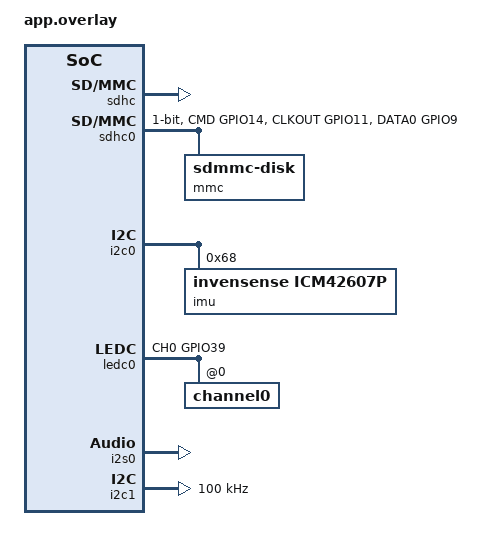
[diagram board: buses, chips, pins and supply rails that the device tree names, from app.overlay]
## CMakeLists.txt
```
cmake_minimum_required(VERSION 3.20.0)
find_package(Zephyr REQUIRED HINTS $ENV{ZEPHYR_BASE})
project(box3_probe)
target_sources(app PRIVATE src/main.c src/radio.c src/audio.c src/dock.c src/provision.c src/telemetry.c src/dashboard.c src/forecast.c src/ui.c)
```

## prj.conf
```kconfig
CONFIG_MAIN_STACK_SIZE=12288
CONFIG_INIT_STACKS=y
CONFIG_STACK_SENTINEL=y
CONFIG_I2C=y
CONFIG_I2S=y
CONFIG_DISK_ACCESS=y
CONFIG_SDMMC_STACK=y
CONFIG_SENSOR=y
CONFIG_PWM=y
CONFIG_SHELL=y
CONFIG_NET_SHELL=y
CONFIG_NET_L2_WIFI_SHELL=y
CONFIG_SHELL_STACK_SIZE=4096
CONFIG_I2S_ESP32_ALLOWED_EMPTY_TX_QUEUE_DEFERRAL_TIME_MS=50
CONFIG_DISPLAY=y
CONFIG_SPI_ESP32_INTERRUPT=y
CONFIG_INPUT=y
CONFIG_INPUT_GT911=y
CONFIG_LVGL=y
# Complete each dirty region in PSRAM before starting its SPI transfer.
CONFIG_LV_Z_VDB_SIZE=100
CONFIG_LV_Z_VDB_CUSTOM_SECTION=y
CONFIG_LV_Z_DOUBLE_VDB=y
CONFIG_LV_Z_FLUSH_THREAD=y
CONFIG_LV_Z_FLUSH_THREAD_STACK_SIZE=2048
CONFIG_LV_Z_FLUSH_THREAD_PRIORITY=4
CONFIG_LV_DEF_REFR_PERIOD=16
CONFIG_LV_Z_MEM_POOL_SIZE=393216
CONFIG_LV_Z_MEMORY_POOL_CUSTOM_SECTION=y
CONFIG_SYS_HEAP_RUNTIME_STATS=y
CONFIG_LV_USE_LOG=y
CONFIG_LV_Z_LOG_LEVEL_WRN=y
CONFIG_LV_USE_ASSERT=y
CONFIG_LV_USE_ASSERT_MALLOC=y
CONFIG_LV_USE_ASSERT_NULL=y
CONFIG_LV_USE_LABEL=y
CONFIG_LV_USE_BUTTON=y
CONFIG_LV_FONT_MONTSERRAT_14=y
CONFIG_LV_FONT_MONTSERRAT_12=y
CONFIG_LV_FONT_MONTSERRAT_24=y
CONFIG_LV_FONT_MONTSERRAT_32=y
CONFIG_LV_USE_CHART=y
CONFIG_LV_USE_BAR=y
CONFIG_LV_USE_SNAPSHOT=y
CONFIG_JSON_LIBRARY=y
CONFIG_LOG=y
CONFIG_PRINTK=y

CONFIG_ESP_SPIRAM=y
CONFIG_SPIRAM_MODE_OCT=y
CONFIG_ESP_SPIRAM_MEMTEST=y
CONFIG_NETWORKING=y
CONFIG_WIFI=y
CONFIG_ESP_WIFI_HEAP_SPIRAM=y
CONFIG_NET_IPV4=y
CONFIG_NET_IPV6=n
CONFIG_NET_DHCPV4=y
CONFIG_NET_MGMT_EVENT_INFO=y
CONFIG_NET_MGMT_EVENT_QUEUE_SIZE=16
CONFIG_NET_MGMT_EVENT_STACK_SIZE=2048
CONFIG_NET_RX_STACK_SIZE=2048
CONFIG_NET_TX_STACK_SIZE=2048
CONFIG_BT=n
CONFIG_SHELL_HISTORY=n
CONFIG_SETTINGS=y
CONFIG_SETTINGS_NVS=y
CONFIG_NVS=y
CONFIG_NVS_DATA_CRC=y
CONFIG_FLASH=y
CONFIG_FLASH_MAP=y
CONFIG_FLASH_PAGE_LAYOUT=y
CONFIG_BASE64=y
CONFIG_REBOOT=y

CONFIG_NET_TCP=y
CONFIG_NET_SOCKETS=y
CONFIG_NET_SOCKETS_SOCKOPT_TLS=y
CONFIG_HTTP_CLIENT=y
CONFIG_SNTP=y
CONFIG_DNS_RESOLVER=y
CONFIG_MBEDTLS_ENABLE_HEAP=y
CONFIG_MBEDTLS_HEAP_SIZE=60000
CONFIG_MBEDTLS_SSL_IN_CONTENT_LEN=4096
CONFIG_MBEDTLS_SSL_OUT_CONTENT_LEN=2048
CONFIG_MBEDTLS_PEM_PARSE_C=y
CONFIG_MBEDTLS_HAVE_TIME_DATE=y
CONFIG_MBEDTLS_CIPHERSUITE_TLS_ECDHE_ECDSA_WITH_AES_128_GCM_SHA256=y
CONFIG_MBEDTLS_SSL_PROTO_TLS1_3=y
# Certificate identity is the provisioned IP SAN, not a DNS virtual-host name.
CONFIG_MBEDTLS_SSL_SERVER_NAME_INDICATION=n
CONFIG_MBEDTLS_SSL_TLS1_3_KEY_EXCHANGE_MODE_EPHEMERAL_ENABLED=y
CONFIG_MBEDTLS_CIPHERSUITE_TLS1_3_AES_128_GCM_SHA256=y
```

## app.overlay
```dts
#include <zephyr/dt-bindings/pinctrl/esp32s3-pinctrl.h>

/* Match the BOX-3 BSP's 40 MHz display clock and use free GDMA channels. */
&ili9342c {
    mipi-max-frequency = <40000000>;
};

&spi2 {
    dma-enabled;
    dmas = <&dma 0>, <&dma 1>;
    dma-names = "rx", "tx";
};

&dma {
    status = "okay";
};

/* GT911 is mounted in native screen coordinates; compensate the panel's 180deg rotation. */
&gt911 {
    screen-width = <320>;
    screen-height = <240>;
    inverted-x;
    inverted-y;
};

&pinctrl {
    dock_i2c: dock_i2c {
        group1 {
            pinmux = <I2C1_SDA_GPIO41>, <I2C1_SCL_GPIO40>;
            bias-pull-up;
            drive-open-drain;
            output-high;
        };
    };
};

&pinctrl {
    audio_pins: audio_pins {
        group1 {
            pinmux = <I2S0_MCLK_GPIO2>, <I2S0_O_BCK_GPIO17>,
                     <I2S0_O_WS_GPIO45>, <I2S0_O_SD_GPIO15>,
                     <I2S0_I_SD_GPIO16>;
        };
    };
};

&pinctrl {
    sd_pins: sd_pins {
        group1 {
            pinmux = <SDHC0_CMD_GPIO14>, <SDHC0_CLKOUT_GPIO11>,
                     <SDHC0_DATA0_GPIO9>;
            bias-pull-up;
            output-high;
        };
    };
};

&sdhc {
    status = "okay";
};

&sdhc0 {
    status = "okay";
    pinctrl-0 = <&sd_pins>;
    pinctrl-names = "default";
    bus-width = <1>;
    max-bus-freq = <20000000>;
    pwr-gpios = <&gpio1 11 GPIO_ACTIVE_LOW>;

    mmc {
        compatible = "zephyr,sdmmc-disk";
        disk-name = "SD";
    };
};

&i2c0 {
    imu: imu@68 {
        compatible = "invensense,icm42607p";
        reg = <0x68>;
    };
};

&pinctrl {
    ir_pins: ir_pins {
        group1 {
            pinmux = <LEDC_CH0_GPIO39>;
            output-enable;
        };
    };
};

&ledc0 {
    #address-cells = <1>;
    #size-cells = <0>;
    status = "okay";
    pinctrl-0 = <&ir_pins>;
    pinctrl-names = "default";
    channel0@0 {
        reg = <0>;
        timer = <0>;
    };
};

&i2s0 {
    status = "okay";
    pinctrl-0 = <&audio_pins>;
    pinctrl-names = "default";
};

&i2c1 {
    status = "okay";
    clock-frequency = <I2C_BITRATE_STANDARD>;
    pinctrl-0 = <&dock_i2c>;
    pinctrl-names = "default";
};
```

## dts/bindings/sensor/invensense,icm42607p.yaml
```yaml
description: ICM-42607-P used by the BOX-3 application-level fixed-rate probe
compatible: "invensense,icm42607p"
include: i2c-device.yaml
```

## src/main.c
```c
#include <errno.h>
#include <stdlib.h>
#include <zephyr/device.h>
#include <zephyr/drivers/display.h>
#include <zephyr/drivers/i2c.h>
#include <zephyr/input/input.h>
#include <zephyr/kernel.h>
#include <zephyr/shell/shell.h>
#include <zephyr/sys/atomic.h>
#include <zephyr/version.h>
#include <lvgl.h>
#include "dashboard.h"
#include "telemetry.h"
#include "ui.h"

#define AHT30_ADDRESS 0x38
static const struct device *const dock = DEVICE_DT_GET(DT_NODELABEL(i2c1));
static const struct device *const touch = DEVICE_DT_GET(DT_CHOSEN(zephyr_touch));
static atomic_t requested_page = ATOMIC_INIT(-1);
static atomic_t requested_weather = ATOMIC_INIT(-1);
static uint32_t render_started, render_count, render_total_us, render_max_us;

static void render_event(lv_event_t *event)
{
    if (lv_event_get_code(event) == LV_EVENT_RENDER_START) {
        render_started = k_cycle_get_32();
    } else {
        uint32_t elapsed = k_cyc_to_us_floor32(k_cycle_get_32() - render_started);
        render_count++;
        render_total_us += elapsed;
        render_max_us = MAX(render_max_us, elapsed);
    }
}

static int page_command(const struct shell *sh, size_t argc, char **argv)
{
    ARG_UNUSED(argc);
    char *end;
    unsigned long page = strtoul(argv[1], &end, 10);
    if (!argv[1][0] || *end || page > 2) return -EINVAL;
    atomic_set(&requested_page, page);
    shell_print(sh, "UI_PAGE_QUEUED");
    return 0;
}
SHELL_CMD_ARG_REGISTER(box3_page, NULL, "Select Home0/Server1/Weather2", page_command, 2, 0);

static int weather_command(const struct shell *sh, size_t argc, char **argv)
{
    ARG_UNUSED(argc);
    char *end;
    unsigned long pressure = strtoul(argv[1], &end, 10);
    if (!argv[1][0] || *end || pressure > 1) return -EINVAL;
    unsigned long hours = strtoul(argv[2], &end, 10);
    if (!argv[2][0] || *end || (hours != 24 && hours != 48)) return -EINVAL;
    atomic_set(&requested_weather, pressure * 100 + hours);
    shell_print(sh, "UI_WEATHER_QUEUED");
    return 0;
}
SHELL_CMD_ARG_REGISTER(box3_weather, NULL, "Select temperature0/pressure1 and 24/48 hours", weather_command, 3, 0);

static void touch_event(struct input_event *event, void *data)
{
    ARG_UNUSED(data);
    static int32_t x, y;
    static bool pressed;
    if (event->type == INPUT_EV_ABS && event->code == INPUT_ABS_X) x = event->value;
    else if (event->type == INPUT_EV_ABS && event->code == INPUT_ABS_Y) y = event->value;
    else if (event->type == INPUT_EV_KEY && event->code == INPUT_BTN_TOUCH &&
             pressed != (event->value != 0)) {
        pressed = event->value != 0;
        printk("BOX3_TOUCH pressed=%d x=%d y=%d\n", pressed, x, y);
    }
}
INPUT_CALLBACK_DEFINE(DEVICE_DT_GET(DT_CHOSEN(zephyr_touch)), touch_event, NULL);

static uint8_t aht_crc(const uint8_t *data, size_t len)
{
    uint8_t crc = 0xff;

    for (size_t i = 0; i < len; ++i) {
        crc ^= data[i];
        for (int bit = 0; bit < 8; ++bit) {
            crc = (crc & 0x80) ? (uint8_t)((crc << 1) ^ 0x31) : (uint8_t)(crc << 1);
        }
    }
    return crc;
}

static int start_aht30(void)
{
    const uint8_t trigger[] = {0xac, 0x33, 0x00};
    return device_is_ready(dock) ? i2c_write(dock, trigger, sizeof(trigger), AHT30_ADDRESS) : -ENODEV;
}

static int read_aht30(int32_t *temp_mc, uint32_t *rh_milli)
{
    uint8_t data[7];
    int ret = i2c_read(dock, data, sizeof(data), AHT30_ADDRESS);
    if (ret < 0) {
        return ret;
    }
    if (data[0] & 0x80) {
        return -EBUSY;
    }
    if (aht_crc(data, 6) != data[6]) {
        return -EBADMSG;
    }
    uint32_t humidity = ((uint32_t)data[1] << 12) |
                        ((uint32_t)data[2] << 4) | (data[3] >> 4);
    uint32_t temperature = ((uint32_t)(data[3] & 0x0f) << 16) |
                           ((uint32_t)data[4] << 8) | data[5];

    *temp_mc = (int32_t)(((uint64_t)temperature * 200000) >> 20) - 50000;
    *rh_milli = (uint32_t)(((uint64_t)humidity * 100000) >> 20);
    return 0;
}

int main(void)
{
    const struct device *display = DEVICE_DT_GET(DT_CHOSEN(zephyr_display));
    bool screen = device_is_ready(display);
    bool room_ok = false, sampling = false;
    int32_t temperature = 0;
    uint32_t humidity = 0;
    unsigned int samples = 0;
    int64_t next_sample = 0, next_ui = 0, next_health = 0;
    printk("\nBOX3_DASHBOARD Zephyr %s display=%d touch=%d\n",
           KERNEL_VERSION_STRING, screen, device_is_ready(touch));
    if (screen) {
        struct display_capabilities caps;
        display_get_capabilities(display, &caps);
        printk("BOX3_DISPLAY width=%u height=%u orientation=%d\n", caps.x_resolution, caps.y_resolution, caps.current_orientation);
        lv_display_add_event_cb(lv_display_get_default(), render_event, LV_EVENT_RENDER_START, NULL);
        lv_display_add_event_cb(lv_display_get_default(), render_event, LV_EVENT_RENDER_READY, NULL);
        ui_init();
        lv_mem_monitor_t memory;
        lv_mem_monitor(&memory);
        printk("BOX3_UI heap_used_pct=%u max_bytes=%zu first_frame_start\n", memory.used_pct, memory.max_used);
        lv_timer_handler();
        lv_mem_monitor(&memory);
        printk("BOX3_UI first_frame_done heap_used_pct=%u max_bytes=%zu\n", memory.used_pct, memory.max_used);
        printk("BOX3_DISPLAY blanking_off=%d\n", display_blanking_off(display));
    }
    while (1) {
        int64_t now = k_uptime_get();
        if (now >= next_sample) {
            int ret;
            if (sampling) {
                ret = read_aht30(&temperature, &humidity);
                sampling = false;
            } else {
                ret = start_aht30();
                sampling = ret == 0;
            }
            if (sampling) {
                /* The sensor converts while the main thread keeps rendering. */
                next_sample = k_uptime_get() + 100;
            } else {
                room_ok = ret == 0;
                telemetry_sample(ret, temperature, humidity);
                printk("BOX3_PROBE sample=%u result=%d temperature_mC=%d humidity_milli_percent=%u%s\n",
                       ++samples, ret, temperature, humidity, room_ok ? " CRC=OK" : "");
                next_sample = k_uptime_get() + 2000;
            }
        }
        if (screen) {
            atomic_val_t page = atomic_set(&requested_page, -1);
            if (page >= 0) ui_show_page(page);
            atomic_val_t weather = atomic_set(&requested_weather, -1);
            if (weather >= 0) ui_weather_set(weather / 100, weather % 100);
            if (now >= next_ui) {
                struct dashboard_data dashboard;
                bool have = dashboard_copy(&dashboard);
                ui_update(room_ok, temperature, humidity, radio_is_online(), telemetry_sent(),
                          &dashboard, have, k_uptime_get());
                next_ui = k_uptime_get() + 1000;
            }
            lv_timer_handler();
            if (now >= next_health) {
                size_t unused = 0;
                lv_mem_monitor_t memory;
                lv_mem_monitor(&memory);
                int ret = k_thread_stack_space_get(k_current_get(), &unused);
                printk("BOX3_UI health heap_used_pct=%u peak_bytes=%zu stack_free=%zu stack_info=%d\n",
                       memory.used_pct, memory.max_used, unused, ret);
                printk("BOX3_UI render frames=%u avg_us=%u max_us=%u\n", render_count,
                       render_count ? render_total_us / render_count : 0, render_max_us);
                render_count = render_total_us = render_max_us = 0;
                ui_pointer_debug();
                next_health = k_uptime_get() + 10000;
            }
        }
        k_msleep(10);
    }
}
```

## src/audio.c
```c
/*
 * Fixed 16 kHz stereo bring-up. Codec register sequences adapted from
 * Espressif esp-adf/components/esp_codec_dev/device/{es8311,es7210}
 * (Apache-2.0, Copyright Espressif Systems).
 */
#include <stdio.h>
#include <string.h>
#include <zephyr/sys/atomic.h>
#include <zephyr/device.h>
#include "diagnostics.h"
#include <zephyr/drivers/gpio.h>
#include <zephyr/drivers/i2c.h>
#include <zephyr/drivers/i2s.h>
#include <zephyr/kernel.h>
#include <zephyr/sys/printk.h>
#include <zephyr/shell/shell.h>
#include "audio.h"

#define BLOCK_BYTES 1024
#define FRAMES (BLOCK_BYTES / 4)
#define ES8311 0x18
#define ES7210 0x40

static const struct device *const bus = DEVICE_DT_GET(DT_NODELABEL(i2c0));
static const struct device *const audio = DEVICE_DT_GET(DT_NODELABEL(i2s0));
static const struct device *const pa_gpio = DEVICE_DT_GET(DT_NODELABEL(gpio1));
K_MEM_SLAB_DEFINE_STATIC(audio_slab, BLOCK_BYTES, 12, 4);
static K_SEM_DEFINE(beep_request, 0, 1);
static atomic_t audio_running;
static atomic_t mic_peak_l;
static atomic_t mic_peak_r;

void audio_summary(char *buf, size_t len)
{
    snprintf(buf, len, "Audio: %s | mic: %ld/%ld",
             atomic_get(&audio_running) ? "ON" : "OFF",
             (long)atomic_get(&mic_peak_l), (long)atomic_get(&mic_peak_r));
}

struct reg_value { uint8_t reg; uint8_t value; };

static int write_regs(uint16_t address, const struct reg_value *regs, size_t count)
{
    for (size_t i = 0; i < count; ++i) {
        int ret = i2c_reg_write_byte(bus, address, regs[i].reg, regs[i].value);

        /* Espressif documents a transient NACK when setting ES8311 noise immunity. */
        if (ret < 0 && address == ES8311 && regs[i].reg == 0x44) {
            ret = i2c_reg_write_byte(bus, address, regs[i].reg, regs[i].value);
        }
        if (ret < 0) {
            printk("BOX3_AUDIO codec=0x%x reg=0x%x error=%d\n",
                   address, regs[i].reg, ret);
            return ret;
        }
    }
    return 0;
}

static int codec_init(void)
{
    /* ES8311 slave, 16-bit I2S, MCLK=256*16 kHz; muted until DMA starts. */
    static const struct reg_value dac[] = {
        {0x0d,0xfa}, {0x44,0x08}, {0x44,0x08},
        {0x01,0x30}, {0x02,0x00}, {0x03,0x10}, {0x16,0x24},
        {0x04,0x10}, {0x05,0x00}, {0x0b,0x00}, {0x0c,0x00},
        {0x10,0x1f}, {0x11,0x7f}, {0x00,0x80}, {0x01,0x3f},
        {0x06,0x03}, {0x13,0x10}, {0x1b,0x0a}, {0x1c,0x6a},
        {0x44,0x58}, {0x09,0x0c}, {0x0a,0x0c}, {0x07,0x00},
        {0x08,0xff}, {0x04,0x20}, {0x17,0xbf}, {0x0e,0x02},
        {0x12,0x00}, {0x14,0x1a}, {0x0d,0x01}, {0x15,0x40},
        {0x37,0x08}, {0x45,0x00}, {0x32,0xdf}, {0x31,0x60},
    };
    /* ES7210 slave: MIC1+MIC2, 18 dB PGA, stereo 16-bit I2S. */
    static const struct reg_value adc[] = {
        {0x00,0xff}, {0x00,0x41}, {0x01,0x3f},
        {0x09,0x30}, {0x0a,0x30}, {0x23,0x2a}, {0x22,0x0a},
        {0x20,0x0a}, {0x21,0x2a}, {0x08,0x00},
        {0x40,0x43}, {0x41,0x70}, {0x42,0x70},
        {0x07,0x20}, {0x02,0xc1}, {0x11,0x60}, {0x12,0x00},
        {0x43,0x16}, {0x44,0x16}, {0x45,0x00}, {0x46,0x00},
        {0x4b,0x00}, {0x4c,0xff}, {0x01,0x34},
        {0x06,0x00}, {0x47,0x08}, {0x48,0x08}, {0x49,0x08},
        {0x4a,0x08}, {0x40,0x43}, {0x00,0x71}, {0x00,0x41},
    };
    int ret = write_regs(ES8311, dac, ARRAY_SIZE(dac));

    if (ret == 0) {
        ret = write_regs(ES7210, adc, ARRAY_SIZE(adc));
    }
    return ret;
}

void audio_beep(void)
{
    k_sem_give(&beep_request);
}

static int cmd_beep(const struct shell *shell, size_t argc, char **argv)
{
    ARG_UNUSED(argc);
    ARG_UNUSED(argv);
    if (!atomic_get(&audio_running)) {
        shell_error(shell, "Audio is not running");
        return -ENODEV;
    }
    audio_beep();
    shell_print(shell, "Queued quiet 500 Hz / 300 ms tone");
    return 0;
}

SHELL_CMD_ARG_REGISTER(box3_beep, NULL, "Play a quiet test tone", cmd_beep, 1, 0);

static void audio_thread(void *a, void *b, void *c)
{
    ARG_UNUSED(a);
    ARG_UNUSED(b);
    ARG_UNUSED(c);
    int ret;
    uint32_t tone_frames = 0;
    uint32_t phase = 0;
    uint32_t total_frames = 0;
    uint32_t peak[2] = {0};
    uint64_t sum[2] = {0};
    int64_t next_report = k_uptime_get() + 2000;
    static const int16_t sine[32] = {
        0,780,1531,2222,2828,3326,3696,3923,
        4000,3923,3696,3326,2828,2222,1531,780,
        0,-780,-1531,-2222,-2828,-3326,-3696,-3923,
        -4000,-3923,-3696,-3326,-2828,-2222,-1531,-780,
    };
    if (!device_is_ready(bus) || !device_is_ready(audio) || !device_is_ready(pa_gpio)) {
        printk("BOX3_AUDIO devices_not_ready\n");
        return;
    }
    ret = gpio_pin_configure(pa_gpio, 14, GPIO_OUTPUT_INACTIVE);
    if (ret < 0) {
        printk("BOX3_AUDIO pa_config=%d\n", ret);
        return;
    }
    ret = codec_init();
    printk("BOX3_AUDIO codec_init=%d\n", ret);
    if (ret < 0) {
        return;
    }

    struct i2s_config cfg = {
        .word_size = 16, .channels = 2, .format = I2S_FMT_DATA_FORMAT_I2S,
        .options = I2S_OPT_BIT_CLK_CONTROLLER | I2S_OPT_FRAME_CLK_CONTROLLER,
        .frame_clk_freq = 16000, .mem_slab = &audio_slab,
        .block_size = BLOCK_BYTES, .timeout = 1000,
    };
    ret = i2s_configure(audio, I2S_DIR_BOTH, &cfg);
    printk("BOX3_AUDIO i2s_configure=%d\n", ret);
    if (ret < 0) {
        return;
    }
    for (int i = 0; i < 2; ++i) {
        void *block;

        ret = k_mem_slab_alloc(&audio_slab, &block, K_MSEC(100));
        if (ret < 0) {
            goto stop;
        }
        memset(block, 0, BLOCK_BYTES);
        ret = i2s_write(audio, block, BLOCK_BYTES);
        if (ret < 0) {
            k_mem_slab_free(&audio_slab, block);
            goto stop;
        }
    }
    ret = i2s_trigger(audio, I2S_DIR_BOTH, I2S_TRIGGER_START);
    printk("BOX3_AUDIO i2s_start=%d\n", ret);
    if (ret < 0) {
        goto stop;
    }
    ret = i2c_reg_write_byte(bus, ES8311, 0x31, 0x00);
    if (ret < 0) {
        goto stop;
    }
    ret = gpio_pin_set(pa_gpio, 14, 1);
    if (ret < 0) {
        goto stop;
    }
    atomic_set(&audio_running, 1);
    audio_beep();

    while (1) {
        void *rx;
        void *tx;
        size_t size;

        ret = i2s_read(audio, &rx, &size);
        if (ret < 0) {
            goto stop;
        }
        if (size > BLOCK_BYTES || size % 4 != 0) {
            k_mem_slab_free(&audio_slab, rx);
            ret = -EIO;
            goto stop;
        }
        int16_t *samples = rx;
        for (size_t i = 0; i < size / 2; ++i) {
            uint32_t magnitude = samples[i] < 0 ? -(int32_t)samples[i] : samples[i];

            peak[i % 2] = MAX(peak[i % 2], magnitude);
            sum[i % 2] += magnitude;
        }
        total_frames += size / 4;
        k_mem_slab_free(&audio_slab, rx);
        if (k_sem_take(&beep_request, K_NO_WAIT) == 0) {
            tone_frames = 4800;
        }
        ret = k_mem_slab_alloc(&audio_slab, &tx, K_MSEC(100));
        if (ret < 0) {
            goto stop;
        }
        int16_t *out = tx;
        for (size_t frame = 0; frame < FRAMES; ++frame) {
            int16_t sample = tone_frames ? sine[(phase++) % 32] : 0;

            if (tone_frames) {
                --tone_frames;
            }
            out[frame * 2] = sample;
            out[frame * 2 + 1] = sample;
        }
        ret = i2s_write(audio, tx, BLOCK_BYTES);
        if (ret < 0) {
            k_mem_slab_free(&audio_slab, tx);
            goto stop;
        }
        if (k_uptime_get() >= next_report) {
            atomic_set(&mic_peak_l, peak[0]);
            atomic_set(&mic_peak_r, peak[1]);
            printk("BOX3_AUDIO frames=%u peak_L=%u peak_R=%u avg_L=%u avg_R=%u\n",
                   total_frames, peak[0], peak[1], total_frames ? (uint32_t)(sum[0] / total_frames) : 0,
                   total_frames ? (uint32_t)(sum[1] / total_frames) : 0);
            total_frames = 0;
            memset(peak, 0, sizeof(peak));
            memset(sum, 0, sizeof(sum));
            next_report = k_uptime_get() + 2000;
        }
    }

stop:
    atomic_clear(&audio_running);
    printk("BOX3_AUDIO stopped error=%d\n", ret);
    gpio_pin_set(pa_gpio, 14, 0);
    i2c_reg_write_byte(bus, ES8311, 0x31, 0x60);
    i2s_trigger(audio, I2S_DIR_BOTH, I2S_TRIGGER_DROP);
}

K_THREAD_DEFINE(audio_probe, 3072, audio_thread, NULL, NULL, NULL, 6, 0, 2500);
```

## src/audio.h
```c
#ifndef BOX3_AUDIO_H
#define BOX3_AUDIO_H

void audio_beep(void);

#endif
```

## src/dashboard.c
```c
#include <errno.h>
#include <string.h>
#include <limits.h>
#include <zephyr/data/json.h>
#include <zephyr/kernel.h>
#include <zephyr/shell/shell.h>
#include "dashboard.h"

static K_MUTEX_DEFINE(dashboard_lock);
static struct dashboard_data current;
static bool ready;
#define P(field) JSON_OBJ_DESCR_PRIM(struct forecast_point, field, JSON_TOK_NUMBER)
static const struct json_obj_descr point_fields[] = {
    P(m), P(t), P(p), P(lo), P(hi), P(pl), P(ph),
};
#undef P
#define F(field, type) JSON_OBJ_DESCR_PRIM(struct forecast_data, field, type)
static const struct json_obj_descr forecast_fields[] = {
    F(ok, JSON_TOK_TRUE), F(age_secs, JSON_TOK_NUMBER), F(source_age_secs, JSON_TOK_NUMBER),
    F(temp_centi, JSON_TOK_NUMBER), F(pressure_dhpa, JSON_TOK_NUMBER),
    JSON_OBJ_DESCR_OBJ_ARRAY(struct forecast_data, points, BOX3_FORECAST_POINTS, count,
                            point_fields, ARRAY_SIZE(point_fields)),
};
#undef F

static void initialize_forecast(struct forecast_data *f)
{
    memset(f, 0, sizeof(*f));
    f->age_secs = f->source_age_secs = f->temp_centi = f->pressure_dhpa = INT32_MIN;
    for (size_t i = 0; i < BOX3_FORECAST_POINTS; ++i)
        f->points[i] = (struct forecast_point){INT32_MIN, INT32_MIN, INT32_MIN,
            INT32_MIN, INT32_MIN, INT32_MIN, INT32_MIN};
}
#define D(field, type) JSON_OBJ_DESCR_PRIM(struct dashboard_data, field, type)
static const struct json_obj_descr fields[] = {
    D(metrics_ok, JSON_TOK_TRUE),
    D(cpu_milli_percent, JSON_TOK_NUMBER),
    D(mem_used_kib, JSON_TOK_NUMBER), D(mem_total_kib, JSON_TOK_NUMBER),
    D(swap_used_kib, JSON_TOK_NUMBER), D(swap_total_kib, JSON_TOK_NUMBER),
    D(uptime_secs, JSON_TOK_NUMBER), D(load_milli, JSON_TOK_NUMBER),
    D(metrics_age_secs, JSON_TOK_NUMBER),
    D(weather_ok, JSON_TOK_TRUE),
    D(weather_temp_mc, JSON_TOK_NUMBER), D(weather_feels_mc, JSON_TOK_NUMBER),
    D(weather_humidity_percent, JSON_TOK_NUMBER), D(weather_kind, JSON_TOK_NUMBER),
    D(weather_text, JSON_TOK_STRING_BUF), D(weather_age_secs, JSON_TOK_NUMBER),
    D(weather_stale, JSON_TOK_TRUE),
    JSON_OBJ_DESCR_OBJECT(struct dashboard_data, forecast, forecast_fields),
};
#undef D

int dashboard_accept(char *body, size_t length)
{
    struct dashboard_data next = {0};
    initialize_forecast(&next.forecast);
    int64_t decoded = json_obj_parse(body, length, fields, ARRAY_SIZE(fields), &next);
    const int64_t core_mask = BIT64(ARRAY_SIZE(fields) - 1) - 1;
    bool has_forecast = decoded >= 0 && (decoded & BIT64(ARRAY_SIZE(fields) - 1));
    if (decoded < 0 || (decoded & core_mask) != core_mask
        || next.cpu_milli_percent < 0 || next.cpu_milli_percent > 100000
        || next.mem_used_kib < 0 || next.mem_total_kib < next.mem_used_kib
        || next.swap_used_kib < 0 || next.swap_total_kib < next.swap_used_kib
        || next.uptime_secs < 0 || next.load_milli < 0 || next.metrics_age_secs < 0
        || next.weather_age_secs < 0 || next.weather_temp_mc < -80000
        || next.weather_temp_mc > 65000 || next.weather_feels_mc < -80000
        || next.weather_feels_mc > 65000 || next.weather_humidity_percent < 0
        || next.weather_humidity_percent > 100 || next.weather_kind < 0
        || next.weather_kind > 6 || (next.metrics_ok && next.mem_total_kib == 0)
        || (has_forecast && !forecast_valid(&next.forecast))) {
        return -EBADMSG;
    }
    for (size_t i = 0; next.weather_text[i]; ++i) {
        if (next.weather_text[i] < 32 || next.weather_text[i] > 126) {
            return -EBADMSG;
        }
    }
    k_mutex_lock(&dashboard_lock, K_FOREVER);
    if (!has_forecast) next.forecast = current.forecast;
    else next.forecast.received_uptime_ms = k_uptime_get();
    next.received_uptime_ms = k_uptime_get();
    next.generation = current.generation + 1;
    current = next;
    ready = true;
    k_mutex_unlock(&dashboard_lock);
    return 0;
}

int dashboard_accept_forecast(char *body, size_t length, bool local)
{
    struct forecast_data next;
    initialize_forecast(&next);
    int64_t decoded = json_obj_parse(body, length, forecast_fields, ARRAY_SIZE(forecast_fields), &next);
    if (decoded != (BIT64(ARRAY_SIZE(forecast_fields)) - 1) || !forecast_valid(&next)) return -EBADMSG;
    next.received_uptime_ms = k_uptime_get();
    next.local = local;
    k_mutex_lock(&dashboard_lock, K_FOREVER);
    current.forecast = next;
    current.generation++;
    k_mutex_unlock(&dashboard_lock);
    return 0;
}

/* Trusted USB diagnostics use the same bounded JSON parser as HTTPS. */
static char forecast_staging[3073];
static size_t staged_length;
static bool staging_open;
static int forecast_begin(const struct shell *sh, size_t argc, char **argv)
{
    ARG_UNUSED(argc); ARG_UNUSED(argv);
    staged_length = 0; staging_open = true;
    shell_print(sh, "FORECAST_BEGIN_OK");
    return 0;
}
static int hex_digit(char c)
{
    if (c >= '0' && c <= '9') return c - '0';
    if (c >= 'a' && c <= 'f') return c - 'a' + 10;
    return -1;
}
static int forecast_chunk(const struct shell *sh, size_t argc, char **argv)
{
    ARG_UNUSED(argc);
    size_t length = strlen(argv[1]);
    if (!staging_open || !length || length > 160 || length % 2
        || staged_length + length / 2 >= sizeof(forecast_staging)) return -EINVAL;
    for (size_t i = 0; i < length; i += 2) {
        int a = hex_digit(argv[1][i]), b = hex_digit(argv[1][i + 1]);
        if (a < 0 || b < 0) { staging_open = false; return -EINVAL; }
        forecast_staging[staged_length++] = (char)((a << 4) | b);
    }
    shell_print(sh, "FORECAST_CHUNK_OK %u", (unsigned)staged_length);
    return 0;
}
static int forecast_commit(const struct shell *sh, size_t argc, char **argv)
{
    ARG_UNUSED(argc); ARG_UNUSED(argv);
    if (!staging_open) return -EINVAL;
    staging_open = false;
    forecast_staging[staged_length] = 0;
    int result = dashboard_accept_forecast(forecast_staging, staged_length, true);
    shell_print(sh, "BOX3_FORECAST result=%d bytes=%u transport=USB", result, (unsigned)staged_length);
    return result;
}
SHELL_CMD_ARG_REGISTER(box3_forecast_begin, NULL, "Begin trusted USB forecast transfer", forecast_begin, 1, 0);
SHELL_CMD_ARG_REGISTER(box3_forecast_chunk, NULL, "Append up to 80 bytes as lowercase hex", forecast_chunk, 2, 0);
SHELL_CMD_ARG_REGISTER(box3_forecast_commit, NULL, "Validate and display the USB forecast", forecast_commit, 1, 0);

static int forecast_status(const struct shell *sh, size_t argc, char **argv)
{
    ARG_UNUSED(argc); ARG_UNUSED(argv);
    struct dashboard_data data;
    dashboard_copy(&data);
    const struct forecast_data *f = &data.forecast;
    uint32_t hash = 2166136261u;
    const unsigned char *bytes = (const unsigned char *)f->points;
    for (size_t i = 0; i < f->count * sizeof(f->points[0]); ++i) hash = (hash ^ bytes[i]) * 16777619u;
    int64_t elapsed = (k_uptime_get() - f->received_uptime_ms) / 1000;
    shell_print(sh, "FORECAST_STATE ok=%u points=%u local=%u hash=%08x age=%lld source_age=%lld",
                f->ok, (unsigned)f->count, f->local, (unsigned)hash,
                (long long)(f->age_secs + elapsed), (long long)(f->source_age_secs + elapsed));
    return 0;
}
SHELL_CMD_ARG_REGISTER(box3_forecast_status, NULL, "Read forecast status without exposing credentials", forecast_status, 1, 0);

bool dashboard_copy(struct dashboard_data *out)
{
    k_mutex_lock(&dashboard_lock, K_FOREVER);
    bool ok = ready;
    *out = current;
    k_mutex_unlock(&dashboard_lock);
    return ok;
}
```

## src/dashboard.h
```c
#ifndef BOX3_DASHBOARD_H
#define BOX3_DASHBOARD_H
#include <stdbool.h>
#include <stdint.h>
#include <stddef.h>
#define BOX3_FORECAST_POINTS 25
struct forecast_point {
    int32_t m, t, p, lo, hi, pl, ph;
};
struct forecast_data {
    bool ok;
    int32_t age_secs, source_age_secs, temp_centi, pressure_dhpa;
    struct forecast_point points[BOX3_FORECAST_POINTS];
    size_t count;
    bool local;
    int64_t received_uptime_ms;
};
bool forecast_valid(const struct forecast_data *data);

struct dashboard_data {
    bool metrics_ok;
    int32_t cpu_milli_percent, mem_used_kib, mem_total_kib;
    int32_t swap_used_kib, swap_total_kib, uptime_secs, load_milli, metrics_age_secs;
    bool weather_ok;
    int32_t weather_temp_mc, weather_feels_mc, weather_humidity_percent, weather_kind;
    char weather_text[41];
    int32_t weather_age_secs;
    bool weather_stale;
    struct forecast_data forecast;
    int64_t received_uptime_ms;
    uint32_t generation;
};
int dashboard_accept(char *body, size_t length);
bool dashboard_copy(struct dashboard_data *out);
int dashboard_accept_forecast(char *body, size_t length, bool local);
#endif
```

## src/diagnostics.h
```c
#ifndef BOX3_DIAGNOSTICS_H
#define BOX3_DIAGNOSTICS_H

#include <stddef.h>

void radio_summary(char *buf, size_t len);
void audio_summary(char *buf, size_t len);
void dock_summary(char *buf, size_t len);

#endif
```

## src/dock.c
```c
#include <stdio.h>
#include <zephyr/device.h>
#include <zephyr/drivers/gpio.h>
#include <zephyr/drivers/i2c.h>
#include <zephyr/drivers/pwm.h>
#include <zephyr/sys/byteorder.h>
#include <zephyr/kernel.h>
#include <zephyr/storage/disk_access.h>
#include <zephyr/sys/atomic.h>
#include <zephyr/sys/printk.h>
#include "diagnostics.h"

static const struct i2c_dt_spec imu = I2C_DT_SPEC_GET(DT_NODELABEL(imu));
static atomic_t imu_ok;
static bool imu_initialized;

static int init_imu(void)
{
    uint8_t id = 0;
    int ret = i2c_reg_read_byte(imu.bus, imu.addr, 0x75, &id);

    printk("BOX3_IMU whoami=0x%x read=%d expected=0x60 ICM42607P\n", id, ret);
    if (ret < 0 || id != 0x60) {
        return ret < 0 ? ret : -ENODEV;
    }
    /* ICM42607P: power off, 100 Hz / 4 g / 500 dps, big-endian data, low-noise. */
    ret = i2c_reg_write_byte(imu.bus, imu.addr, 0x1f, 0x00);
    if (ret == 0) {
        ret = i2c_reg_write_byte(imu.bus, imu.addr, 0x20, 0x49);
    }
    if (ret == 0) {
        ret = i2c_reg_write_byte(imu.bus, imu.addr, 0x21, 0x49);
    }
    if (ret == 0) {
        ret = i2c_reg_update_byte(imu.bus, imu.addr, 0x35, BIT(4), BIT(4));
    }
    if (ret == 0) {
        ret = i2c_reg_write_byte(imu.bus, imu.addr, 0x1f, 0x0f);
    }
    k_msleep(50);
    return ret;
}
static atomic_t sd_result = ATOMIC_INIT(-EINPROGRESS);
static atomic_t radar_level;
static atomic_t ir_edges;
static struct gpio_callback ir_cb;

void dock_summary(char *buf, size_t len)
{
    snprintf(buf, len, "IMU: %s | SD: %ld\nRadar: %ld | IR edges: %ld",
             atomic_get(&imu_ok) ? "OK" : "OFF", (long)atomic_get(&sd_result),
             (long)atomic_get(&radar_level), (long)atomic_get(&ir_edges));
}

static void probe_sd(void)
{
    uint32_t sectors = 0;
    uint32_t sector_size = 0;
    static uint8_t sector[512] __aligned(4);
    int ret = disk_access_init("SD");

    printk("BOX3_SD init=%d\n", ret);
    atomic_set(&sd_result, ret);
    if (ret != 0) {
        return;
    }
    ret = disk_access_ioctl("SD", DISK_IOCTL_GET_SECTOR_COUNT, &sectors);
    if (ret == 0) {
        ret = disk_access_ioctl("SD", DISK_IOCTL_GET_SECTOR_SIZE, &sector_size);
    }
    printk("BOX3_SD geometry=%d sectors=%u sector_size=%u\n", ret, sectors, sector_size);
    if (ret == 0 && sector_size == sizeof(sector)) {
        ret = disk_access_read("SD", sector, 0, 1);
        printk("BOX3_SD read_sector0=%d readonly=1\n", ret);
    } else if (ret == 0) {
        ret = -ENOTSUP;
    }
    atomic_set(&sd_result, ret);
    ret = disk_access_ioctl("SD", DISK_IOCTL_CTRL_DEINIT, NULL);
    printk("BOX3_SD deinit=%d\n", ret);
}

static void ir_edge(const struct device *dev, struct gpio_callback *cb, uint32_t pins)
{
    ARG_UNUSED(dev);
    ARG_UNUSED(cb);
    ARG_UNUSED(pins);
    atomic_inc(&ir_edges);
}

static void probe_ir(const struct device *gpio)
{
    const struct device *pwm = DEVICE_DT_GET(DT_NODELABEL(ledc0));
    /* SENSOR-02 schematic: RXD (GPIO44) drives active-low IR supply gate. */
    int ret = gpio_pin_configure(gpio, 12, GPIO_OUTPUT_LOW);

    if (ret == 0) {
        ret = gpio_pin_configure(gpio, 6, GPIO_INPUT);
    }
    if (ret == 0) {
        gpio_init_callback(&ir_cb, ir_edge, BIT(6));
        ret = gpio_add_callback(gpio, &ir_cb);
    }
    if (ret == 0) {
        ret = gpio_pin_interrupt_configure(gpio, 6, GPIO_INT_EDGE_BOTH);
    }
    printk("BOX3_IR receiver_init=%d\n", ret);
    if (!device_is_ready(pwm) || ret != 0) {
        return;
    }
    k_msleep(100);
    atomic_val_t before = atomic_get(&ir_edges);
    /* Bare 38 kHz carrier, not a remote-control command. */
    ret = pwm_set(pwm, 0, 26316, 13158, 0);
    k_msleep(20);
    int stop = pwm_set(pwm, 0, 26316, 0, 0);
    k_msleep(100);
    printk("BOX3_IR carrier_start=%d stop=%d loopback_edges=%ld\n",
           ret, stop, (long)(atomic_get(&ir_edges) - before));
}

static void read_imu(void)
{
    uint8_t data[12];
    int ret = imu_initialized ?
        i2c_burst_read(imu.bus, imu.addr, 0x0b, data, sizeof(data)) : -ENODEV;

    /* A transient NACK was observed during a tone; the data read is idempotent. */
    if (ret == -EIO) {
        k_msleep(2);
        ret = i2c_burst_read(imu.bus, imu.addr, 0x0b, data, sizeof(data));
        printk("BOX3_IMU read_retry_result=%d\n", ret);
    }
    int32_t accel[3] = {0};
    int32_t gyro[3] = {0};

    if (ret == 0) {
        for (int axis = 0; axis < 3; ++axis) {
            int16_t raw_a = (int16_t)sys_get_be16(&data[axis * 2]);
            int16_t raw_g = (int16_t)sys_get_be16(&data[6 + axis * 2]);

            if (raw_a == INT16_MIN || raw_g == INT16_MIN) {
                ret = -EAGAIN;
                break;
            }
            accel[axis] = (int32_t)raw_a * 4000 / 32768;
            gyro[axis] = (int32_t)((int64_t)raw_g * 500000 / 32768);
        }
    }
    atomic_set(&imu_ok, ret == 0);
    if (ret == 0) {
        printk("BOX3_IMU accel_mg=%d,%d,%d gyro_mdps=%d,%d,%d\n",
               accel[0], accel[1], accel[2], gyro[0], gyro[1], gyro[2]);
    } else {
        printk("BOX3_IMU sample_error=%d\n", ret);
    }
}

static void dock_thread(void *a, void *b, void *c)
{
    ARG_UNUSED(a);
    ARG_UNUSED(b);
    ARG_UNUSED(c);
    const struct device *low = DEVICE_DT_GET(DT_NODELABEL(gpio0));
    const struct device *high = DEVICE_DT_GET(DT_NODELABEL(gpio1));
    int ret = gpio_pin_configure(low, 21, GPIO_INPUT);

    printk("BOX3_RADAR input_config=%d\n", ret);
    int radar_ret = ret;
    probe_ir(high);
    int imu_ret = init_imu();
    imu_initialized = imu_ret == 0;
    printk("BOX3_IMU init=%d\n", imu_ret);
    probe_sd();
    int previous_radar = -1;
    int64_t next_imu = 0;
    while (1) {
        int radar = radar_ret == 0 ? gpio_pin_get(low, 21) : radar_ret;

        atomic_set(&radar_level, radar);
        if (radar != previous_radar) {
            printk("BOX3_DOCK radar_out=%d ir_edges=%ld\n",
                   radar, (long)atomic_get(&ir_edges));
            previous_radar = radar;
        }
        if (k_uptime_get() >= next_imu) {
            read_imu();
            next_imu = k_uptime_get() + 2000;
        }
        k_msleep(50);
    }
}

K_THREAD_DEFINE(dock_probe, 3072, dock_thread, NULL, NULL, NULL, 8, 0, 2000);
```

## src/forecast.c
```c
#include "dashboard.h"

bool forecast_valid(const struct forecast_data *f)
{
    if (!f->ok) return f->count == 0;
    if (f->count != BOX3_FORECAST_POINTS || f->age_secs < 0 || f->source_age_secs < f->age_secs
        || f->temp_centi < -9000 || f->temp_centi > 6500
        || f->pressure_dhpa < 8500 || f->pressure_dhpa > 11000) return false;
    int32_t previous = 0;
    for (size_t i = 0; i < f->count; ++i) {
        const struct forecast_point *p = &f->points[i];
        if (p->m <= previous || p->m > 2880 || (i == 0 && p->m > 60)
            || p->t < -9000 || p->t > 6500 || p->p < 8500 || p->p > 11000
            || p->lo < -12000 || p->lo > p->t || p->hi < p->t || p->hi > 9000
            || p->pl < 6500 || p->pl > p->p || p->ph < p->p || p->ph > 13000) return false;
        previous = p->m;
    }
    return previous >= 2760;
}
```

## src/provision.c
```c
#include <errno.h>
#include <stdlib.h>
#include <string.h>
#include <zephyr/kernel.h>
#include <zephyr/net/socket.h>
#include <zephyr/settings/settings.h>
#include <zephyr/shell/shell.h>
#include <zephyr/sys/base64.h>
#include <zephyr/sys/reboot.h>
#include <zephyr/sys/atomic.h>
#include "provision.h"

#define MAGIC 0x42335431
static struct telemetry_config active;
static struct telemetry_config staging;
static bool stage_open;
static atomic_t ready;
BUILD_ASSERT(sizeof(struct telemetry_config) < 3500, "Configuration must fit one NVS sector");

static bool valid(const struct telemetry_config *c)
{
    struct net_in_addr addr;
    return c->magic == MAGIC && c->interval_secs >= 60 && c->interval_secs <= 86400
        && memchr(c->ssid, 0, sizeof(c->ssid)) && strlen(c->ssid) > 0
        && memchr(c->psk, 0, sizeof(c->psk)) && strlen(c->psk) >= 8
        && memchr(c->server_ip, 0, sizeof(c->server_ip))
        && net_addr_pton(NET_AF_INET, c->server_ip, &addr) == 0
        && memchr(c->ca, 0, sizeof(c->ca)) && strstr(c->ca, "BEGIN CERTIFICATE")
        && memchr(c->cert, 0, sizeof(c->cert)) && strstr(c->cert, "BEGIN CERTIFICATE")
        && memchr(c->key, 0, sizeof(c->key)) && strstr(c->key, "BEGIN PRIVATE KEY");
}

static int load(const char *name, size_t len, settings_read_cb cb, void *arg)
{
    if (strcmp(name, "config")) {
        return -ENOENT;
    }
    if (len != sizeof(active)) {
        return -EINVAL;
    }
    int n = cb(arg, &active, sizeof(active));
    return n == sizeof(active) ? 0 : -EIO;
}
SETTINGS_STATIC_HANDLER_DEFINE(tlm_settings, "tlm", NULL, load, NULL, NULL);

void provision_init(void)
{
    int ret = settings_subsys_init();
    if (ret == 0) {
        ret = settings_load_subtree("tlm");
    }
    atomic_set(&ready, ret == 0 && valid(&active));
    printk("BOX3_CONFIG settings=%d provisioned=%d\n", ret, (int)atomic_get(&ready));
}

const struct telemetry_config *provision_config(void)
{
    return atomic_get(&ready) ? &active : NULL;
}

static int begin(const struct shell *sh, size_t argc, char **argv)
{
    ARG_UNUSED(argc); ARG_UNUSED(argv);
    memset(&staging, 0, sizeof(staging));
    staging.magic = MAGIC;
    staging.interval_secs = 3600;
    stage_open = true;
    shell_print(sh, "TLM_BEGIN_OK");
    return 0;
}

static int put(const struct shell *sh, size_t argc, char **argv)
{
    ARG_UNUSED(argc);
    if (!stage_open) {
        return -EPERM;
    }
    char *dst = NULL;
    size_t cap = 0;
#define FIELD(n, f) if (!strcmp(argv[1], n)) { dst = staging.f; cap = sizeof(staging.f); }
    FIELD("ssid", ssid)
    FIELD("psk", psk)
    FIELD("ip", server_ip)
    FIELD("ca", ca)
    FIELD("cert", cert)
    FIELD("key", key)
#undef FIELD
    char *end;
    unsigned long offset = strtoul(argv[2], &end, 10);
    if (!dst || *end || offset != strlen(dst) || offset >= cap) {
        return -EINVAL;
    }
    uint8_t decoded[96];
    size_t n;
    int ret = base64_decode(decoded, sizeof(decoded), &n, argv[3], strlen(argv[3]));
    if (ret != 0 || n == 0 || offset + n >= cap || memchr(decoded, 0, n)) {
        return -EINVAL;
    }
    memcpy(dst + offset, decoded, n);
    dst[offset + n] = 0;
    memset(decoded, 0, sizeof(decoded));
    shell_print(sh, "TLM_CHUNK_OK");
    return 0;
}

static int interval(const struct shell *sh, size_t argc, char **argv)
{
    ARG_UNUSED(argc);
    char *end;
    unsigned long n = strtoul(argv[1], &end, 10);
    if (!stage_open || *end || n < 60 || n > 86400) {
        return -EINVAL;
    }
    staging.interval_secs = n;
    shell_print(sh, "TLM_INTERVAL_OK");
    return 0;
}

static int commit(const struct shell *sh, size_t argc, char **argv)
{
    ARG_UNUSED(argc); ARG_UNUSED(argv);
    if (!stage_open || !valid(&staging)) {
        return -EINVAL;
    }
    int ret = settings_save_one("tlm/config", &staging, sizeof(staging));
    if (ret == 0) {
        stage_open = false;
        memset(&staging, 0, sizeof(staging));
        shell_print(sh, "TLM_COMMIT_OK");
    }
    return ret;
}

static int period(const struct shell *sh, size_t argc, char **argv)
{
    ARG_UNUSED(argc);
    char *end;
    unsigned long n = strtoul(argv[1], &end, 10);
    if (stage_open || !provision_config() || *end || n < 60 || n > 86400) {
        return -EINVAL;
    }
    memcpy(&staging, &active, sizeof(staging));
    staging.interval_secs = n;
    int ret = settings_save_one("tlm/config", &staging, sizeof(staging));
    memset(&staging, 0, sizeof(staging));
    if (ret == 0) {
        shell_print(sh, "TLM_PERIOD_OK; reboot to apply");
    }
    return ret;
}

static int reboot(const struct shell *sh, size_t argc, char **argv)
{
    ARG_UNUSED(argc); ARG_UNUSED(argv);
    shell_print(sh, "TLM_REBOOT");
    k_msleep(200);
    sys_reboot(SYS_REBOOT_COLD);
    return 0;
}

SHELL_STATIC_SUBCMD_SET_CREATE(tlm_commands,
    SHELL_CMD_ARG(begin, NULL, "Begin local provisioning", begin, 1, 0),
    SHELL_CMD_ARG(put, NULL, "Append base64 field chunk", put, 4, 0),
    SHELL_CMD_ARG(interval, NULL, "Set seconds between uploads", interval, 2, 0),
    SHELL_CMD_ARG(commit, NULL, "Persist complete configuration", commit, 1, 0),
    SHELL_CMD_ARG(period, NULL, "Persist new upload interval; reboot to apply", period, 2, 0),
    SHELL_CMD_ARG(reboot, NULL, "Restart and apply configuration", reboot, 1, 0),
    SHELL_SUBCMD_SET_END
);
SHELL_CMD_REGISTER(tlm, &tlm_commands, "Local USB provisioning; no secret readback", NULL);
```

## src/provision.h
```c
#ifndef BOX3_PROVISION_H
#define BOX3_PROVISION_H
#include <stdint.h>
struct telemetry_config {
    uint32_t magic;
    uint32_t interval_secs;
    char ssid[33];
    char psk[65];
    char server_ip[16];
    char ca[1024];
    char cert[1024];
    char key[512];
};
void provision_init(void);
const struct telemetry_config *provision_config(void);
#endif
```

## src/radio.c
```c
#include <stdio.h>
#include <string.h>
#include <zephyr/kernel.h>
#include <zephyr/net/net_if.h>
#include <zephyr/net/wifi_mgmt.h>
#include <zephyr/sys/atomic.h>
#include "diagnostics.h"
#include "provision.h"
#include "telemetry.h"

static atomic_t online;

bool radio_is_online(void)
{
    return atomic_get(&online) != 0;
}

void radio_summary(char *buf, size_t len)
{
    snprintf(buf, len, "Wi-Fi: %s | TLS: %s",
             radio_is_online() ? "connected" : "waiting",
             telemetry_sent() ? "sent" : "pending");
}

static void radio_thread(void *a, void *b, void *c)
{
    ARG_UNUSED(a); ARG_UNUSED(b); ARG_UNUSED(c);
    provision_init();
    const struct telemetry_config *cfg;
    while (!(cfg = provision_config())) {
        k_msleep(1000);
    }
    struct net_if *iface = net_if_get_wifi_sta();
    if (!iface) {
        printk("BOX3_WIFI no_station_interface\n");
        return;
    }
    int64_t next_attempt = 0;
    while (1) {
        bool up = net_if_is_up(iface) && net_if_is_carrier_ok(iface)
            && net_if_ipv4_get_global_addr(iface, NET_ADDR_PREFERRED) != NULL;
        atomic_set(&online, up);
        if (!up && k_uptime_get() >= next_attempt) {
            struct wifi_connect_req_params req = {
                .ssid = (const uint8_t *)cfg->ssid, .ssid_length = strlen(cfg->ssid),
                .psk = (const uint8_t *)cfg->psk, .psk_length = strlen(cfg->psk),
                .security = WIFI_SECURITY_TYPE_PSK, .band = WIFI_FREQ_BAND_2_4_GHZ,
                .channel = WIFI_CHANNEL_ANY, .mfp = WIFI_MFP_OPTIONAL, .timeout = 30,
            };
            int ret = net_mgmt(NET_REQUEST_WIFI_CONNECT, iface, &req, sizeof(req));
            printk("BOX3_WIFI connect_request=%d\n", ret);
            next_attempt = k_uptime_get() + 45000;
        }
        k_msleep(1000);
    }
}
K_THREAD_DEFINE(radio_link, 4096, radio_thread, NULL, NULL, NULL, 7, 0, 1500);
```

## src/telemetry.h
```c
#ifndef BOX3_TELEMETRY_H
#define BOX3_TELEMETRY_H
#include <stdbool.h>
#include <stdint.h>
void telemetry_sample(int result, int32_t temperature_mc, uint32_t humidity);
bool radio_is_online(void);
bool telemetry_sent(void);
#endif
```
